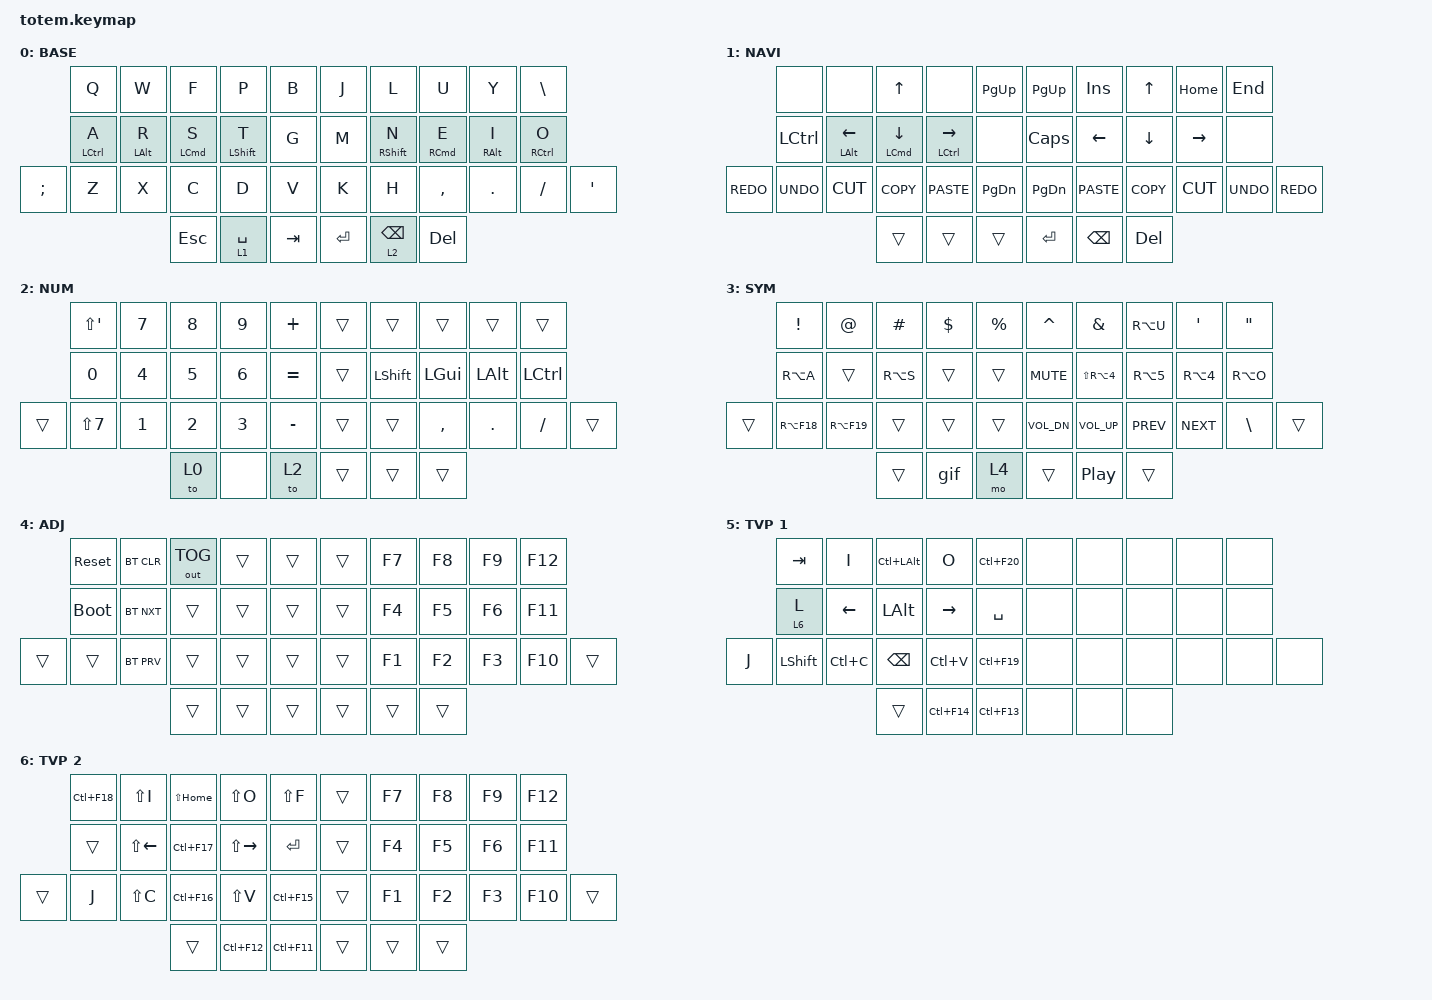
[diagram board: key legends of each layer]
//
//                                                        ▀▀▀▀▀     ▀▀▀▀▀          ▀▀█▀▀
//                                                        ▄▀▀▀▄  ▄  ▄▀▀▀▄  ▄  ▄▀▀▀▄  █  ▄▀▀▀▄
//                                                        █   █  █  █   █  █  █   █  █  █   █
//                                                         ▀▀▀   █   ▀▀▀   █   ▀▀▀   ▀   ▀▀▀
//                                                               █      ▄▄▄█▄▄▄    █   █  
//                                                               ▀      █  █  █     █▄█
//                                                             ▀▀▀▀▀    █  █  █      ▀
//                                                                      ▀  ▀  ▀
//
// ▄▄▄▄▄▄▄▄▄▄▄▄▄▄▄▄▄▄▄▄▄▄▄▄▄▄▄▄▄▄▄▄▄▄▄▄▄▄▄▄▄▄▄▄▄▄▄▄▄▄▄▄▄▄▄▄▄▄▄▄▄▄▄▄▄▄▄▄▄▄▄▄▄▄▄▄▄▄▄▄▄▄▄▄▄▄▄▄▄▄▄▄▄▄▄▄▄▄▄▄▄▄▄▄▄▄▄▄▄▄▄▄▄▄▄▄▄▄▄▄▄▄▄▄▄▄▄▄▄▄▄▄▄▄▄▄▄▄▄▄▄▄▄▄▄▄▄▄▄

#include <behaviors.dtsi>
#include <dt-bindings/zmk/bt.h>
#include <dt-bindings/zmk/keys.h>
#include <dt-bindings/zmk/outputs.h>

#define BASE 0
#define NAV  1
#define SYM  2
#define ADJ  3
#define TVP1 4
#define TVP2 5

&mt {
    quick-tap-ms = <100>;
    global-quick-tap;
    flavor = "tap-preferred";
    tapping-term-ms = <170>;
};

/ {
    combos {
        compatible = "zmk,combos";

        combo_esc {
            timeout-ms = <50>;
            key-positions = <0 1>;
            bindings = <&kp ESC>;
        };

        combo_tvp {
            timeout-ms = <100>;
            key-positions = <11 12 13>;
            bindings = <&tog 6>;
        };
    };

    macros {
        gif: gif {
            label = "giphy";
            compatible = "zmk,behavior-macro";
            #binding-cells = <0>;
            bindings =
                <&macro_press>,
                <&kp LSHFT>,
                <&macro_tap>,
                <&kp N2>,
                <&macro_release>,
                <&kp LSHFT>,
                <&macro_tap>,
                <&kp G &kp I &kp F>;
        };
    };

    keymap {
        compatible = "zmk,keymap";

        // ▄▄▄▄▄▄▄▄▄▄▄▄▄▄▄▄▄▄▄▄▄▄▄▄▄▄▄▄▄▄▄▄▄▄▄▄▄▄▄▄▄▄▄▄▄▄▄▄▄▄▄▄▄▄▄▄▄▄▄▄▄▄▄▄▄▄▄▄▄▄▄▄▄▄▄▄▄▄▄▄▄▄▄▄▄▄▄▄▄▄▄▄▄▄▄▄▄▄▄▄▄▄▄▄▄▄▄▄▄▄▄▄▄▄▄▄▄▄▄▄▄▄▄▄▄▄▄▄▄▄▄▄▄▄▄▄▄▄▄▄▄▄▄▄▄▄▄▄▄

        base_layer {
            // ┏━━━━━━━━━━━━━━━━━━━━━━━━━━━━━━━━━━━━━━━┓

            label = "BASE";

            // ┗━━━━━━━━━━━━━━━━━━━━━━━━━━━━━━━━━━━━━━━┛
            //             ┏━━━━━━━━━━━┳━━━━━━━━━━━┳━━━━━━━━━━━┳━━━━━━━━━━━┳━━━━━━━━━━━┓   ┏━━━━━━━━━━━┳━━━━━━━━━━━┳━━━━━━━━━━━┳━━━━━━━━━━━┳━━━━━━━━━━━┓
            //             ┃     Q     ┃     W     ┃     F     ┃     P     ┃     G     ┃   ┃     J     ┃     L     ┃     U     ┃     Y     ┃     ;     ┃
            //             ┣━━━━━━━━━━━╋━━━━━━━━━━━╋━━━━━━━━━━━╋━━━━━━━━━━━╋━━━━━━━━━━━┫   ┣━━━━━━━━━━━╋━━━━━━━━━━━╋━━━━━━━━━━━╋━━━━━━━━━━━╋━━━━━━━━━━━┫
            //             ┃     A     ┃     R     ┃     S     ┃     T     ┃     D     ┃   ┃     H     ┃     N     ┃     E     ┃     I     ┃     O     ┃
            // ┏━━━━━━━━━━━╋━━━━━━━━━━━╋━━━━━━━━━━━╋━━━━━━━━━━━╋━━━━━━━━━━━╋━━━━━━━━━━━┫   ┣━━━━━━━━━━━╋━━━━━━━━━━━╋━━━━━━━━━━━╋━━━━━━━━━━━╋━━━━━━━━━━━╋━━━━━━━━━━━┓
            // ┃     Q     ┃     Z     ┃     X     ┃     C     ┃     V     ┃     B     ┃   ┃     K     ┃     M     ┃     ,     ┃     .     ┃     /     ┃     \     ┃
            // ┗━━━━━━━━━━━┻━━━━━━━━━━━┻━━━━━━━━━━━╋━━━━━━━━━━━╋━━━━━━━━━━━╋━━━━━━━━━━━┫   ┣━━━━━━━━━━━╋━━━━━━━━━━━╋━━━━━━━━━━━╋━━━━━━━━━━━┻━━━━━━━━━━━┻━━━━━━━━━━━┛
            //                                     ┃    DEL    ┃    TAB    ┃    SPC    ┃   ┃   ENTER   ┃           ┃   BSPC    ┃
            //                                     ┗━━━━━━━━━━━┻━━━━━━━━━━━┻━━━━━━━━━━━┛   ┗━━━━━━━━━━━┻━━━━━━━━━━━┻━━━━━━━━━━━┛

            bindings = <
               &kp Q        &kp W       &kp F               &kp P        &kp B      &kp J    &kp L            &kp U                &kp Y       &kp BACKSLASH
               &mt LCTRL A  &mt LALT R  &mt LEFT_COMMAND S  &mt LSHFT T  &kp G      &kp M    &mt RSHFT N      &mt RIGHT_COMMAND E  &mt RALT I  &mt RCTRL O
&kp SEMICOLON  &kp Z        &kp X       &kp C               &kp D        &kp V      &kp K    &kp H            &kp COMMA            &kp DOT     &kp FSLH       &kp APOSTROPHE
                                        &kp ESC             &lt 1 SPACE  &kp TAB    &kp RET  &lt 2 BACKSPACE  &kp DEL
            >;
        };

        nav_layer {
            // ┏━━━━━━━━━━━━━━━━━━━━━━━━━━━━━━━━━━━━━━━┓

            label = "NAVI";

            // ┗━━━━━━━━━━━━━━━━━━━━━━━━━━━━━━━━━━━━━━━┛
            //             ┏━━━━━━━━━━━┳━━━━━━━━━━━┳━━━━━━━━━━━┳━━━━━━━━━━━┳━━━━━━━━━━━┓   ┏━━━━━━━━━━━┳━━━━━━━━━━━┳━━━━━━━━━━━┳━━━━━━━━━━━┳━━━━━━━━━━━┓
            //             ┃           ┃           ┃     UP    ┃           ┃     {     ┃   ┃     }     ┃     7     ┃     8     ┃     9     ┃     +     ┃
            //             ┣━━━━━━━━━━━╋━━━━━━━━━━━╋━━━━━━━━━━━╋━━━━━━━━━━━╋━━━━━━━━━━━┫   ┣━━━━━━━━━━━╋━━━━━━━━━━━╋━━━━━━━━━━━╋━━━━━━━━━━━╋━━━━━━━━━━━┫
            //             ┃   SHIFT   ┃   LEFT    ┃    DOWN   ┃   RIGHT   ┃     [     ┃   ┃     ]     ┃     4     ┃     5     ┃     6     ┃     -     ┃
            // ┏━━━━━━━━━━━╋━━━━━━━━━━━╋━━━━━━━━━━━╋━━━━━━━━━━━╋━━━━━━━━━━━╋━━━━━━━━━━━┫   ┣━━━━━━━━━━━╋━━━━━━━━━━━╋━━━━━━━━━━━╋━━━━━━━━━━━╋━━━━━━━━━━━╋━━━━━━━━━━━┓
            // ┃           ┃           ┃   P UP    ┃  C LOCK   ┃  P DOWN   ┃     (     ┃   ┃     )     ┃     1     ┃     2     ┃     3     ┃     *     ┃           ┃
            // ┗━━━━━━━━━━━┻━━━━━━━━━━━┻━━━━━━━━━━━╋━━━━━━━━━━━╋━━━━━━━━━━━╋━━━━━━━━━━━┫   ┣━━━━━━━━━━━╋━━━━━━━━━━━╋━━━━━━━━━━━╋━━━━━━━━━━━┻━━━━━━━━━━━┻━━━━━━━━━━━┛
            //                                     ┃           ┃    TAB    ┃    SPC    ┃   ┃    DEL    ┃     0     ┃           ┃
            //                                     ┗━━━━━━━━━━━┻━━━━━━━━━━━┻━━━━━━━━━━━┛   ┗━━━━━━━━━━━┻━━━━━━━━━━━┻━━━━━━━━━━━┛

            bindings = <
            &none       &none                    &kp UP_ARROW                 &none                  &kp PAGE_UP      &kp PAGE_UP    &kp INSERT      &kp UP_ARROW    &kp HOME         &kp END
            &kp LCTRL   &mt LEFT_ALT LEFT_ARROW  &mt LEFT_COMMAND DOWN_ARROW  &mt LCTRL RIGHT_ARROW  &none            &kp CAPSLOCK   &kp LEFT_ARROW  &kp DOWN_ARROW  &kp RIGHT_ARROW  &none
&kp K_REDO  &kp K_UNDO  &kp K_CUT                &kp K_COPY                   &kp K_PASTE            &kp PAGE_DOWN    &kp PAGE_DOWN  &kp K_PASTE     &kp K_COPY      &kp K_CUT        &kp K_UNDO  &kp K_REDO
                                                 &trans                       &trans                 &trans           &kp ENTER      &kp BACKSPACE   &kp DEL
            >;
        };

        num_layer {
            bindings = <
        &kp LS(APOSTROPHE)  &kp N7  &kp N8  &kp N9  &kp PLUS     &trans  &trans     &trans     &trans    &trans
        &kp N0              &kp N4  &kp N5  &kp N6  &kp EQUAL    &trans  &kp LSHFT  &kp LGUI   &kp LALT  &kp LCTRL
&trans  &kp LS(N7)          &kp N1  &kp N2  &kp N3  &kp MINUS    &trans  &trans     &kp COMMA  &kp DOT   &kp FSLH   &trans
                                    &to 0   &none   &to 2        &trans  &trans     &trans
            >;

            label = "NUM";
        };

        sym_layer {
            // ┏━━━━━━━━━━━━━━━━━━━━━━━━━━━━━━━━━━━━━━━┓

            label = "SYM";

            // ┗━━━━━━━━━━━━━━━━━━━━━━━━━━━━━━━━━━━━━━━┛
            //             ┏━━━━━━━━━━━┳━━━━━━━━━━━┳━━━━━━━━━━━┳━━━━━━━━━━━┳━━━━━━━━━━━┓   ┏━━━━━━━━━━━┳━━━━━━━━━━━┳━━━━━━━━━━━┳━━━━━━━━━━━┳━━━━━━━━━━━┓
            //             ┃     !     ┃     @     ┃     #     ┃     $     ┃     %     ┃   ┃     ˆ     ┃     &     ┃     Ü     ┃     '     ┃     "     ┃
            //             ┣━━━━━━━━━━━╋━━━━━━━━━━━╋━━━━━━━━━━━╋━━━━━━━━━━━╋━━━━━━━━━━━┫   ┣━━━━━━━━━━━╋━━━━━━━━━━━╋━━━━━━━━━━━╋━━━━━━━━━━━╋━━━━━━━━━━━┫
            //             ┃     Ä     ┃           ┃    SZ     ┃           ┃           ┃   ┃   MUTE    ┃   YEN     ┃   EURO    ┃  POUND    ┃     Ö     ┃
            // ┏━━━━━━━━━━━╋━━━━━━━━━━━╋━━━━━━━━━━━╋━━━━━━━━━━━╋━━━━━━━━━━━╋━━━━━━━━━━━┫   ┣━━━━━━━━━━━╋━━━━━━━━━━━╋━━━━━━━━━━━╋━━━━━━━━━━━╋━━━━━━━━━━━╋━━━━━━━━━━━┓
            // ┃           ┃  EMAIL1   ┃  EMAIL2   ┃           ┃           ┃           ┃   ┃   VOL-    ┃   VOL+    ┃   LAST    ┃   NEXT    ┃     \     ┃           ┃
            // ┗━━━━━━━━━━━┻━━━━━━━━━━━┻━━━━━━━━━━━╋━━━━━━━━━━━╋━━━━━━━━━━━╋━━━━━━━━━━━┫   ┣━━━━━━━━━━━╋━━━━━━━━━━━╋━━━━━━━━━━━╋━━━━━━━━━━━┻━━━━━━━━━━━┻━━━━━━━━━━━┛
            //                                     ┃           ┃    GIF    ┃    ADJ    ┃   ┃           ┃           ┃           ┃
            //                                     ┗━━━━━━━━━━━┻━━━━━━━━━━━┻━━━━━━━━━━━┛   ┗━━━━━━━━━━━┻━━━━━━━━━━━┻━━━━━━━━━━━┛

            bindings = <
        &kp EXCL     &kp AT       &kp HASH   &kp DLLR  &kp PRCNT    &kp CARET     &kp AMPS        &kp RA(U)   &kp SQT     &kp DQT
        &kp RA(A)    &trans       &kp RA(S)  &trans    &trans       &kp C_MUTE    &kp LS(RA(N4))  &kp RA(N5)  &kp RA(N4)  &kp RA(O)
&trans  &kp RA(F18)  &kp RA(F19)  &trans     &trans    &trans       &kp C_VOL_DN  &kp C_VOL_UP    &kp C_PREV  &kp C_NEXT  &kp BSLH   &trans
                                  &trans     &gif      &mo 4        &trans        &kp C_PP        &trans
            >;
        };

        adjust_layer {
            // ┏━━━━━━━━━━━━━━━━━━━━━━━━━━━━━━━━━━━━━━━┓

            label = "ADJ";

            // ┗━━━━━━━━━━━━━━━━━━━━━━━━━━━━━━━━━━━━━━━┛
            //             ┏━━━━━━━━━━━┳━━━━━━━━━━━┳━━━━━━━━━━━┳━━━━━━━━━━━┳━━━━━━━━━━━┓   ┏━━━━━━━━━━━┳━━━━━━━━━━━┳━━━━━━━━━━━┳━━━━━━━━━━━┳━━━━━━━━━━━┓
            //             ┃   RESET   ┃ BT CLEAR  ┃  OUT TOG  ┃           ┃           ┃   ┃           ┃    F7     ┃    F8     ┃    F9     ┃    F12    ┃
            //             ┣━━━━━━━━━━━╋━━━━━━━━━━━╋━━━━━━━━━━━╋━━━━━━━━━━━╋━━━━━━━━━━━┫   ┣━━━━━━━━━━━╋━━━━━━━━━━━╋━━━━━━━━━━━╋━━━━━━━━━━━╋━━━━━━━━━━━┫
            //             ┃ BOOTLOAD  ┃ BT NEXT   ┃           ┃           ┃           ┃   ┃           ┃    F4     ┃    F5     ┃    F6     ┃    F11    ┃
            // ┏━━━━━━━━━━━╋━━━━━━━━━━━╋━━━━━━━━━━━╋━━━━━━━━━━━╋━━━━━━━━━━━╋━━━━━━━━━━━┫   ┣━━━━━━━━━━━╋━━━━━━━━━━━╋━━━━━━━━━━━╋━━━━━━━━━━━╋━━━━━━━━━━━╋━━━━━━━━━━━┓
            // ┃           ┃           ┃ BT PREV   ┃           ┃           ┃           ┃   ┃           ┃    F1     ┃    F2     ┃    F3     ┃    F10    ┃           ┃
            // ┗━━━━━━━━━━━┻━━━━━━━━━━━┻━━━━━━━━━━━╋━━━━━━━━━━━╋━━━━━━━━━━━╋━━━━━━━━━━━┫   ┣━━━━━━━━━━━╋━━━━━━━━━━━╋━━━━━━━━━━━╋━━━━━━━━━━━┻━━━━━━━━━━━┻━━━━━━━━━━━┛
            //                                     ┃           ┃           ┃           ┃   ┃           ┃           ┃           ┃
            //                                     ┗━━━━━━━━━━━┻━━━━━━━━━━━┻━━━━━━━━━━━┛   ┗━━━━━━━━━━━┻━━━━━━━━━━━┻━━━━━━━━━━━┛

            bindings = <
        &sys_reset   &bt BT_CLR  &out OUT_TOG  &trans  &trans    &trans  &kp F7  &kp F8  &kp F9  &kp F12
        &bootloader  &bt BT_NXT  &trans        &trans  &trans    &trans  &kp F4  &kp F5  &kp F6  &kp F11
&trans  &trans       &bt BT_PRV  &trans        &trans  &trans    &trans  &kp F1  &kp F2  &kp F3  &kp F10  &trans
                                 &trans        &trans  &trans    &trans  &trans  &trans
            >;
        };

        tvp1_layer {
            // ┏━━━━━━━━━━━━━━━━━━━━━━━━━━━━━━━━━━━━━━━┓

            label = "TVP 1";

            // ┗━━━━━━━━━━━━━━━━━━━━━━━━━━━━━━━━━━━━━━━┛
            //             ┏━━━━━━━━━━━┳━━━━━━━━━━━┳━━━━━━━━━━━┳━━━━━━━━━━━┳━━━━━━━━━━━┓   ┏━━━━━━━━━━━┳━━━━━━━━━━━┳━━━━━━━━━━━┳━━━━━━━━━━━┳━━━━━━━━━━━┓
            //             ┃ NEXT FILE ┃ MARK IN   ┃ ROTATE    ┃ MARK OUT  ┃ SHOW SNAP ┃   ┃           ┃           ┃           ┃           ┃           ┃
            //             ┣━━━━━━━━━━━╋━━━━━━━━━━━╋━━━━━━━━━━━╋━━━━━━━━━━━╋━━━━━━━━━━━┫   ┣━━━━━━━━━━━╋━━━━━━━━━━━╋━━━━━━━━━━━╋━━━━━━━━━━━╋━━━━━━━━━━━┫
            //             ┃ TVP II    ┃ LEFT      ┃ PAN       ┃ RIGHT     ┃ PLAY/FLIP ┃   ┃           ┃           ┃           ┃           ┃           ┃
            // ┏━━━━━━━━━━━╋━━━━━━━━━━━╋━━━━━━━━━━━╋━━━━━━━━━━━╋━━━━━━━━━━━╋━━━━━━━━━━━┫   ┣━━━━━━━━━━━╋━━━━━━━━━━━╋━━━━━━━━━━━╋━━━━━━━━━━━╋━━━━━━━━━━━╋━━━━━━━━━━━┓
            // ┃ FULLSCR   ┃ SHIFT     ┃ COPY      ┃ DELETE    ┃ PASTE     ┃ IMG MARK  ┃   ┃           ┃           ┃           ┃           ┃           ┃           ┃
            // ┗━━━━━━━━━━━┻━━━━━━━━━━━┻━━━━━━━━━━━╋━━━━━━━━━━━╋━━━━━━━━━━━╋━━━━━━━━━━━┫   ┣━━━━━━━━━━━╋━━━━━━━━━━━╋━━━━━━━━━━━╋━━━━━━━━━━━┻━━━━━━━━━━━┻━━━━━━━━━━━┛
            //                                     ┃           ┃ UNDO/SAVE ┃  SEL/MOV  ┃   ┃           ┃           ┃           ┃
            //                                     ┗━━━━━━━━━━━┻━━━━━━━━━━━┻━━━━━━━━━━━┛   ┗━━━━━━━━━━━┻━━━━━━━━━━━┻━━━━━━━━━━━┛

            bindings = <
       &kp TAB    &kp I      &kp LC(LALT)  &kp O        &kp LC(F20)    &none  &none  &none  &none  &none
       &lt 6 L    &kp LEFT   &kp LALT      &kp RIGHT    &kp SPACE      &none  &none  &none  &none  &none
&kp J  &kp LSHFT  &kp LC(C)  &kp BSPC      &kp LC(V)    &kp LC(F19)    &none  &none  &none  &none  &none  &none
                             &trans        &kp LC(F14)  &kp LC(F13)    &none  &none  &none
            >;
        };

        tvp2_layer {
            // ┏━━━━━━━━━━━━━━━━━━━━━━━━━━━━━━━━━━━━━━━┓

            label = "TVP 2";

            // ┗━━━━━━━━━━━━━━━━━━━━━━━━━━━━━━━━━━━━━━━┛
            //             ┏━━━━━━━━━━━┳━━━━━━━━━━━┳━━━━━━━━━━━┳━━━━━━━━━━━┳━━━━━━━━━━━┓   ┏━━━━━━━━━━━┳━━━━━━━━━━━┳━━━━━━━━━━━┳━━━━━━━━━━━┳━━━━━━━━━━━┓
            //             ┃ SOLO      ┃ TOGGLE IN ┃ RESET ROT ┃ TOGGLE OUT┃ TAKE SNAP ┃   ┃           ┃           ┃           ┃           ┃           ┃
            //             ┣━━━━━━━━━━━╋━━━━━━━━━━━╋━━━━━━━━━━━╋━━━━━━━━━━━╋━━━━━━━━━━━┫   ┣━━━━━━━━━━━╋━━━━━━━━━━━╋━━━━━━━━━━━╋━━━━━━━━━━━╋━━━━━━━━━━━┫
            //             ┃ ---       ┃ LAST KEY  ┃ NEW KEY   ┃ NEXT KEY  ┃ ENTER     ┃   ┃           ┃           ┃           ┃           ┃           ┃
            // ┏━━━━━━━━━━━╋━━━━━━━━━━━╋━━━━━━━━━━━╋━━━━━━━━━━━╋━━━━━━━━━━━╋━━━━━━━━━━━┫   ┣━━━━━━━━━━━╋━━━━━━━━━━━╋━━━━━━━━━━━╋━━━━━━━━━━━╋━━━━━━━━━━━╋━━━━━━━━━━━┓
            // ┃           ┃ FULLSCR   ┃ CPY2BRUSH ┃ DEL HEAD  ┃ PSTinPLACE┃ BOOK MARK ┃   ┃           ┃           ┃           ┃           ┃           ┃           ┃
            // ┗━━━━━━━━━━━┻━━━━━━━━━━━┻━━━━━━━━━━━╋━━━━━━━━━━━╋━━━━━━━━━━━╋━━━━━━━━━━━┫   ┣━━━━━━━━━━━╋━━━━━━━━━━━╋━━━━━━━━━━━╋━━━━━━━━━━━┻━━━━━━━━━━━┻━━━━━━━━━━━┛
            //                                     ┃           ┃ REDO/SAV1 ┃TRANS/WARP ┃   ┃           ┃           ┃           ┃
            //                                     ┗━━━━━━━━━━━┻━━━━━━━━━━━┻━━━━━━━━━━━┛   ┗━━━━━━━━━━━┻━━━━━━━━━━━┻━━━━━━━━━━━┛

            bindings = <
        &kp LC(F18)  &kp LS(I)     &kp LS(HOME)  &kp LS(O)      &kp LS(F)      &trans  &kp F7  &kp F8  &kp F9  &kp F12
        &trans       &kp LS(LEFT)  &kp LC(F17)   &kp LS(RIGHT)  &kp RET        &trans  &kp F4  &kp F5  &kp F6  &kp F11
&trans  &kp J        &kp LS(C)     &kp LC(F16)   &kp LS(V)      &kp LC(F15)    &trans  &kp F1  &kp F2  &kp F3  &kp F10  &trans
                                   &trans        &kp LC(F12)    &kp LC(F11)    &trans  &trans  &trans
            >;
        };
    };
};
